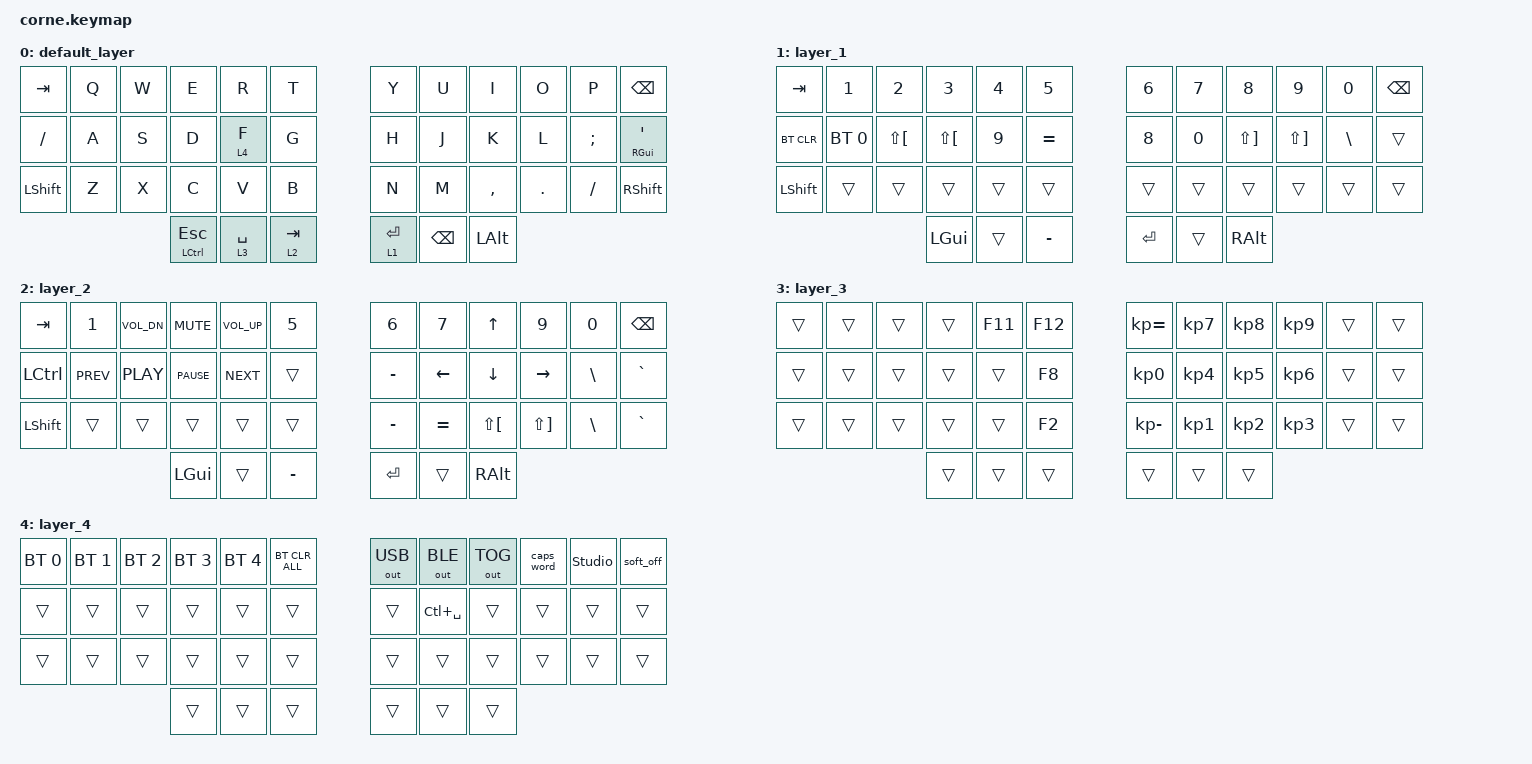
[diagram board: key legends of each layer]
#include <behaviors.dtsi>
#include <dt-bindings/zmk/keys.h>
#include <dt-bindings/zmk/bt.h>
#include <dt-bindings/zmk/outputs.h>

/ {
    keymap {
        compatible = "zmk,keymap";

        default_layer {
            bindings = <
&kp TAB    &kp Q        &kp W         &kp E         &kp R          &kp T                 &kp Y          &kp U         &kp I         &kp O         &kp P          &kp BSPC
&kp FSLH   &kp A        &kp S         &kp D         &lt 4 F         &kp G                 &kp H          &kp J         &kp K         &kp L         &kp SEMI       &mt RGUI SQT
&kp LSHFT  &kp Z        &kp X         &kp C         &kp V          &kp B                 &kp N          &kp M         &kp COMMA     &kp DOT       &kp FSLH       &kp RSHFT
                                  &mt LCTRL ESC &lt 3 SPACE  &lt 2 TAB      &lt 1 RET      &kp BSPC       &kp LALT
            >;
        };

        layer_1 {
            bindings = <
&kp TAB    &kp N1       &kp N2        &kp N3        &kp N4         &kp N5                &kp N6         &kp N7        &kp N8        &kp N9        &kp N0         &kp BSPC
&bt BT_CLR &bt BT_SEL 0 &kp LS(LBKT)  &kp LS(LBKT)  &kp N9         &kp EQUAL             &kp N8         &kp N0        &kp LS(RBKT)  &kp LS(RBKT)  &kp BSLH       &trans
&kp LSHFT  &trans       &trans        &trans        &trans         &trans                &trans         &trans        &trans        &trans        &trans         &trans
                                  &kp LGUI     &trans        &kp MINUS    &kp RET       &trans         &kp RALT
            >;
        };

        layer_2 {
            bindings = <
&kp TAB    &kp N1       &kp C_VOL_DN  &kp C_MUTE    &kp C_VOL_UP   &kp N5                &kp N6         &kp N7        &kp UP        &kp N9        &kp N0         &kp BSPC
&kp LCTRL  &kp C_PREV   &kp C_PLAY    &kp C_PAUSE   &kp C_NEXT     &trans                &kp MINUS      &kp LEFT      &kp DOWN      &kp RIGHT     &kp BSLH       &kp GRAVE
&kp LSHFT  &trans       &trans        &trans        &trans         &trans                &kp MINUS      &kp EQUAL     &kp LS(LBKT)  &kp LS(RBKT)  &kp BSLH       &kp GRAVE
                                  &kp LGUI     &trans        &kp MINUS    &kp RET       &trans         &kp RALT
            >;
        };

        layer_3 {
            bindings = <
&trans     &trans       &trans        &trans        &kp F11        &kp F12               &kp KP_EQUAL   &kp KP_N7     &kp KP_N8     &kp KP_N9     &trans         &trans
&trans     &trans       &trans        &trans        &trans         &kp F8                &kp KP_N0      &kp KP_N4     &kp KP_N5     &kp KP_N6     &trans         &trans
&trans     &trans       &trans        &trans        &trans         &kp F2                &kp KP_MINUS   &kp KP_N1     &kp KP_N2     &kp KP_N3     &trans         &trans
                                  &trans       &trans        &trans       &trans        &trans         &trans
            >;
        };

        layer_4 {
            bindings = <
&bt BT_SEL 0  &bt BT_SEL 1  &bt BT_SEL 2  &bt BT_SEL 3  &bt BT_SEL 4  &bt BT_CLR_ALL      &out OUT_USB   &out OUT_BLE  &out OUT_TOG  &caps_word     &studio_unlock &soft_off
&trans        &trans        &trans        &trans        &trans        &trans               &trans         &kp LC(SPACE) &trans        &trans         &trans         &trans
&trans        &trans        &trans        &trans        &trans        &trans               &trans         &trans        &trans        &trans         &trans         &trans
                                  &trans       &trans        &trans               &trans         &trans        &trans
            >;
        };
    };
};
